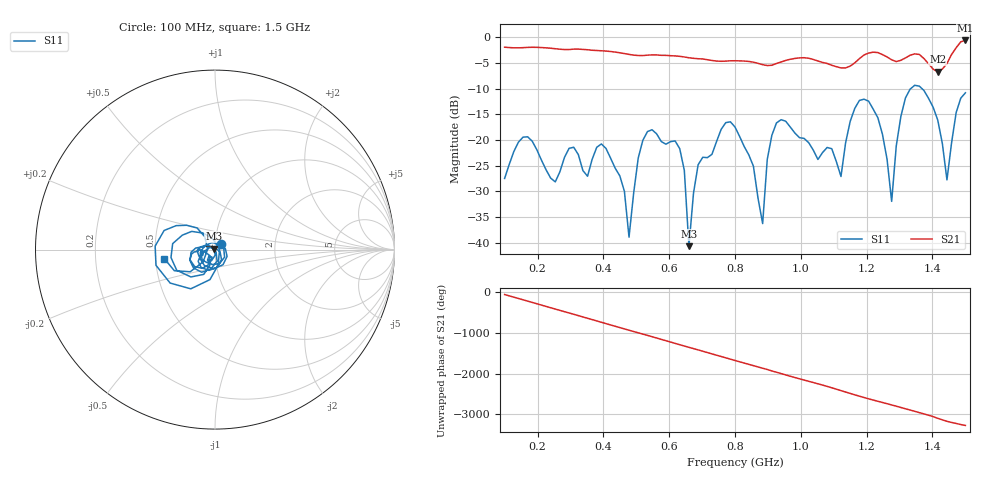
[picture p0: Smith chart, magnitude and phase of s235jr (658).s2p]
! NanoVNA-App
! Date: 2025-09-25 15:09:17
! Start: 100MHz Stop: 1,5GHz Points: 101
! S-Parameter data: F S11 S21 S12 S22
# Hz S RI R 50
!  Frequency  S11_Real  S11_Imag  S21_Real  S21_Imag  S12_Real  S12_Imag  S22_Real  S22_Imag
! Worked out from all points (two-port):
!   101 points, 100 MHz to 1.5 GHz, reference 50 ohm
!   highest |S21| = -0.65 dB at 1.5 GHz (marker M1); lowest = -6.7 dB at 1.416 GHz (marker M2)
!   |S21| within 3 dB of the highest: start of sweep to 615.6 MHz; 1.189 GHz to 1.256 GHz (67.21 MHz wide, 5.5 % of centre) (the widest 2 of 4)
!   lowest |S11| = -40.6 dB at 660 MHz (marker M3), VSWR 1.02, Z = 49.3 + j0.597 ohm
!   |S11| at or under -10 dB: start of sweep to 1.334 GHz; 1.368 GHz to end of sweep
!   S12 and S22 are empty: the file has one direction only
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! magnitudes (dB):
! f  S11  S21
! 100 MHz  -27.5  -2.0
! 156 MHz  -19.5  -2.1
! 338 MHz  -26.0  -2.4
! 408 MHz  -21.6  -2.7
! 478 MHz  -38.9  -3.4
! 520 MHz  -20.1  -3.6
! 576 MHz  -20.3  -3.5
! 632 MHz  -21.7  -3.7
! 660 MHz  -40.6  -4.0
! 688 MHz  -24.8  -4.2
! 800 MHz  -17.5  -4.6
! 884 MHz  -36.2  -5.4
! 926 MHz  -16.7  -5.1
! 1.038 GHz  -22.0  -4.4
! 1.122 GHz  -27.1  -6.0
! 1.164 GHz  -13.8  -5.0
! 1.206 GHz  -12.5  -3.1
! 1.276 GHz  -31.9  -4.4
! 1.332 GHz  -10.1  -3.5
! 1.416 GHz  -16.1  -6.7
! 1.444 GHz  -27.7  -5.1
! 1.5 GHz  -10.8  -0.7
